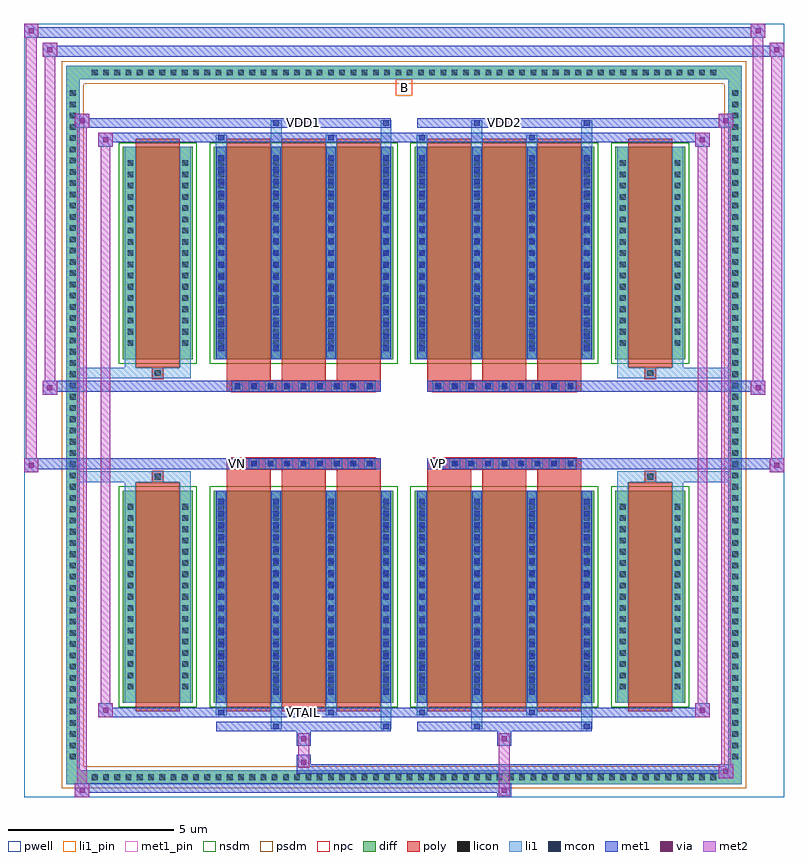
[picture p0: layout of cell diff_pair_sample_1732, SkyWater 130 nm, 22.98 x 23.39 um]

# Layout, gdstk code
import gdstk
lib = gdstk.Library(unit=1e-6, precision=5e-09)
def R(c, l, rs):  # rectangles x0, y0, x1, y1
    for r in rs: c.add(gdstk.rectangle(r[:2], r[2:], *l))
def A(c, l, x, y, w, h, nx, ny, dx, dy):  # array of equal rectangles
    R(c, l, [(x+i*dx, y+j*dy, x+i*dx+w, y+j*dy+h) for i in range(nx) for j in range(ny)])
def P(c, l, *ps):  # polygons
    for p in ps: c.add(gdstk.Polygon(p, *l))
pwell = (64, 44)
diff = (65, 20)
poly = (66, 20)
licon = (66, 44)
li1_pin = (67, 16)
li1 = (67, 20)
mcon = (67, 44)
met1_pin = (68, 16)
met1 = (68, 20)
via = (68, 44)
met2 = (69, 20)
nsdm = (93, 44)
psdm = (94, 20)
npc = (95, 20)

diff_pair_sample_1732 = lib.new_cell('diff_pair_sample_1732')
R(diff_pair_sample_1732, pwell, [(-11.49,-11.26,11.49,12.13), (-8.81,-9.45,-0.01,-0.805), (0.01,-9.45,8.81,-0.805), (-8.81,0.805,-0.01,9.45), (0.01,0.805,8.81,9.45)])
A(diff_pair_sample_1732, diff, -9.555, -10.86, 0.41, 0.41, 56, 2, 0.34, 21.31)
A(diff_pair_sample_1732, diff, -10.22, -10.235, 0.41, 0.41, 1, 60, 0, 0.34)
A(diff_pair_sample_1732, diff, 9.81, -10.235, 0.41, 0.41, 1, 60, 0, 0.34)
R(diff_pair_sample_1732, diff, [(-9.555,-10.86,9.555,-10.45), (-10.22,-10.235,-9.81,10.235), (9.81,-10.235,10.22,10.235), (-8.5,-8.405,-6.39,-1.985), (-5.75,-8.405,-0.32,-1.985), (0.32,-8.405,5.75,-1.985), (6.39,-8.405,8.5,-1.985), (-8.5,1.985,-6.39,8.405), (-5.75,1.985,-0.32,8.405), (0.32,1.985,5.75,8.405), (6.39,1.985,8.5,8.405), (-9.555,10.45,9.555,10.86)])
P(diff_pair_sample_1732, diff, [(10.22,10.86),(-10.22,10.86),(-10.22,-10.45),(-9.81,-10.45),(-9.81,10.45),(9.81,10.45),(9.81,-10.45),(-9.81,-10.45),(-10.22,-10.45),(-10.22,-10.86),(10.22,-10.86)])
A(diff_pair_sample_1732, poly, -5.36, -8.655, 1.33, 6.92, 3, 2, 1.66, 10.39)
A(diff_pair_sample_1732, poly, 0.71, -8.655, 1.33, 6.92, 3, 2, 1.66, 10.39)
A(diff_pair_sample_1732, poly, -5.36, -1.735, 1.33, 0.4, 3, 2, 1.66, 3.07)
A(diff_pair_sample_1732, poly, 0.71, -1.735, 1.33, 0.4, 3, 2, 1.66, 3.07)
A(diff_pair_sample_1732, poly, -5.2, -1.335, 0.33, 0.33, 9, 2, 0.5, 2.34)
A(diff_pair_sample_1732, poly, 0.87, -1.335, 0.33, 0.33, 9, 2, 0.5, 2.34)
R(diff_pair_sample_1732, poly, [(-8.11,-8.655,-6.78,-1.735), (6.78,-8.655,8.11,-1.735), (-7.61,-1.735,-7.28,-1.405), (-7.61,-1.735,-7.28,-1.405), (7.28,-1.735,7.61,-1.405), (7.28,-1.735,7.61,-1.405), (-5.36,-1.335,-0.71,-1.005), (0.71,-1.335,5.36,-1.005), (-5.36,1.005,-0.71,1.335), (0.71,1.005,5.36,1.335), (-7.61,1.405,-7.28,1.735), (-7.61,1.405,-7.28,1.735), (7.28,1.405,7.61,1.735), (7.28,1.405,7.61,1.735), (-8.11,1.735,-6.78,8.655), (6.78,1.735,8.11,8.655)])
A(diff_pair_sample_1732, licon, -9.435, -10.74, 0.17, 0.17, 56, 2, 0.34, 21.31)
A(diff_pair_sample_1732, licon, -10.1, -10.115, 0.17, 0.17, 1, 60, 0, 0.34)
A(diff_pair_sample_1732, licon, 9.93, -10.115, 0.17, 0.17, 1, 60, 0, 0.34)
A(diff_pair_sample_1732, licon, -8.36, -8, 0.17, 0.17, 1, 17, 0, 0.34)
A(diff_pair_sample_1732, licon, -6.7, -8, 0.17, 0.17, 1, 17, 0, 0.34)
A(diff_pair_sample_1732, licon, -5.61, -8, 0.17, 0.17, 4, 17, 1.66, 0.34)
A(diff_pair_sample_1732, licon, 0.46, -8, 0.17, 0.17, 4, 17, 1.66, 0.34)
A(diff_pair_sample_1732, licon, 6.53, -8, 0.17, 0.17, 1, 17, 0, 0.34)
A(diff_pair_sample_1732, licon, 8.19, -8, 0.17, 0.17, 1, 17, 0, 0.34)
A(diff_pair_sample_1732, licon, -5.12, -1.255, 0.17, 0.17, 9, 2, 0.5, 2.34)
A(diff_pair_sample_1732, licon, 0.95, -1.255, 0.17, 0.17, 9, 2, 0.5, 2.34)
A(diff_pair_sample_1732, licon, -8.36, 2.39, 0.17, 0.17, 1, 17, 0, 0.34)
A(diff_pair_sample_1732, licon, -6.7, 2.39, 0.17, 0.17, 1, 17, 0, 0.34)
A(diff_pair_sample_1732, licon, -5.61, 2.39, 0.17, 0.17, 4, 17, 1.66, 0.34)
A(diff_pair_sample_1732, licon, 0.46, 2.39, 0.17, 0.17, 4, 17, 1.66, 0.34)
A(diff_pair_sample_1732, licon, 6.53, 2.39, 0.17, 0.17, 1, 17, 0, 0.34)
A(diff_pair_sample_1732, licon, 8.19, 2.39, 0.17, 0.17, 1, 17, 0, 0.34)
R(diff_pair_sample_1732, licon, [(-7.53,-1.655,-7.36,-1.485), (7.36,-1.655,7.53,-1.485), (-7.53,1.485,-7.36,1.655), (7.36,1.485,7.53,1.655)])
R(diff_pair_sample_1732, li1_pin, [(-0.25,9.95,0.25,10.45)])
A(diff_pair_sample_1732, li1, -9.515, -10.82, 0.33, 0.33, 56, 2, 0.34, 21.31)
A(diff_pair_sample_1732, li1, -10.18, -10.195, 0.33, 0.33, 1, 60, 0, 0.34)
A(diff_pair_sample_1732, li1, 9.85, -10.195, 0.33, 0.33, 1, 60, 0, 0.34)
A(diff_pair_sample_1732, li1, -5.69, -8.405, 0.33, 6.42, 4, 2, 1.66, 10.39)
A(diff_pair_sample_1732, li1, 0.38, -8.405, 0.33, 6.42, 4, 2, 1.66, 10.39)
A(diff_pair_sample_1732, li1, -5.61, -8.16, 0.17, 0.17, 4, 17, 1.66, 0.36)
A(diff_pair_sample_1732, li1, -5.61, -8.16, 0.17, 5.93, 4, 2, 1.66, 10.39)
A(diff_pair_sample_1732, li1, 0.46, -8.16, 0.17, 0.17, 4, 17, 1.66, 0.36)
A(diff_pair_sample_1732, li1, 0.46, -8.16, 0.17, 5.93, 4, 2, 1.66, 10.39)
A(diff_pair_sample_1732, li1, -8.44, -8.08, 0.33, 0.33, 1, 17, 0, 0.34)
A(diff_pair_sample_1732, li1, -6.78, -8.08, 0.33, 0.33, 1, 17, 0, 0.34)
A(diff_pair_sample_1732, li1, -5.69, -8.08, 0.33, 0.33, 4, 17, 1.66, 0.34)
A(diff_pair_sample_1732, li1, 0.38, -8.08, 0.33, 0.33, 4, 17, 1.66, 0.34)
A(diff_pair_sample_1732, li1, 6.45, -8.08, 0.33, 0.33, 1, 17, 0, 0.34)
A(diff_pair_sample_1732, li1, 8.11, -8.08, 0.33, 0.33, 1, 17, 0, 0.34)
A(diff_pair_sample_1732, li1, -5.2, -1.335, 0.33, 0.33, 9, 2, 0.5, 2.34)
A(diff_pair_sample_1732, li1, 0.87, -1.335, 0.33, 0.33, 9, 2, 0.5, 2.34)
A(diff_pair_sample_1732, li1, -5.61, 2.23, 0.17, 0.17, 4, 17, 1.66, 0.36)
A(diff_pair_sample_1732, li1, 0.46, 2.23, 0.17, 0.17, 4, 17, 1.66, 0.36)
A(diff_pair_sample_1732, li1, -8.44, 2.31, 0.33, 0.33, 1, 17, 0, 0.34)
A(diff_pair_sample_1732, li1, -6.78, 2.31, 0.33, 0.33, 1, 17, 0, 0.34)
A(diff_pair_sample_1732, li1, -5.69, 2.31, 0.33, 0.33, 4, 17, 1.66, 0.34)
A(diff_pair_sample_1732, li1, 0.38, 2.31, 0.33, 0.33, 4, 17, 1.66, 0.34)
A(diff_pair_sample_1732, li1, 6.45, 2.31, 0.33, 0.33, 1, 17, 0, 0.34)
A(diff_pair_sample_1732, li1, 8.11, 2.31, 0.33, 0.33, 1, 17, 0, 0.34)
R(diff_pair_sample_1732, li1, [(-10.22,-10.86,-9.81,-10.45), (-10.22,-10.86,-9.81,-10.45), (-9.81,-10.86,9.81,-10.45), (9.81,-10.86,10.22,-10.45), (9.81,-10.86,10.22,-10.45), (-10.22,-10.45,-9.81,10.45), (9.81,-10.45,10.22,10.45), (-4.03,-9.21,-3.7,-8.405), (-3.95,-9.21,-3.78,-9.04), (-0.71,-9.21,-0.38,-8.405), (-0.63,-9.21,-0.46,-9.04), (2.04,-9.21,2.37,-8.405), (2.12,-9.21,2.29,-9.04), (5.36,-9.21,5.69,-8.405), (5.44,-9.21,5.61,-9.04), (-5.69,-8.78,-5.36,-8.405), (-5.61,-8.78,-5.44,-8.61), (-2.37,-8.78,-2.04,-8.405), (-2.29,-8.78,-2.12,-8.61), (0.38,-8.78,0.71,-8.405), (0.46,-8.78,0.63,-8.61), (3.7,-8.78,4.03,-8.405), (3.78,-8.78,3.95,-8.61), (-8.44,-8.405,-8.11,-1.985), (-6.78,-8.405,-6.45,-1.985), (6.45,-8.405,6.78,-1.985), (8.11,-8.405,8.44,-1.985), (-8.44,-1.985,-8.11,-1.405), (-6.78,-1.985,-6.45,-1.405), (6.45,-1.985,6.78,-1.405), (8.11,-1.985,8.44,-1.405), (-10.22,-1.735,-7.61,-1.405), (-8.44,-1.735,-7.61,-1.405), (-7.61,-1.735,-7.28,-1.405), (-7.28,-1.735,-6.45,-1.405), (6.45,-1.735,7.28,-1.405), (7.28,-1.735,7.61,-1.405), (7.28,-1.735,10.22,-1.405), (7.61,-1.735,8.44,-1.405), (-10.22,1.405,-7.61,1.735), (-8.44,1.405,-7.61,1.735), (-8.44,1.405,-8.11,1.985), (-7.61,1.405,-7.28,1.735), (-7.28,1.405,-6.45,1.735), (-6.78,1.405,-6.45,1.985), (6.45,1.405,7.28,1.735), (6.45,1.405,6.78,1.985), (7.28,1.405,7.61,1.735), (7.28,1.405,10.22,1.735), (7.61,1.405,8.44,1.735), (8.11,1.405,8.44,1.985), (-8.44,1.985,-8.11,8.405), (-6.78,1.985,-6.45,8.405), (6.45,1.985,6.78,8.405), (8.11,1.985,8.44,8.405), (-5.69,8.405,-5.36,8.78), (-4.03,8.405,-3.7,9.21), (-2.37,8.405,-2.04,8.78), (-0.71,8.405,-0.38,9.21), (0.38,8.405,0.71,8.78), (2.04,8.405,2.37,9.21), (3.7,8.405,4.03,8.78), (5.36,8.405,5.69,9.21), (-5.61,8.61,-5.44,8.78), (-2.29,8.61,-2.12,8.78), (0.46,8.61,0.63,8.78), (3.78,8.61,3.95,8.78), (-3.95,9.04,-3.78,9.21), (-0.63,9.04,-0.46,9.21), (2.12,9.04,2.29,9.21), (5.44,9.04,5.61,9.21), (-10.22,10.45,-9.81,10.86), (-10.22,10.45,-9.81,10.86), (-9.81,10.45,9.81,10.86), (9.81,10.45,10.22,10.86), (9.81,10.45,10.22,10.86)])
A(diff_pair_sample_1732, mcon, -5.61, -8.16, 0.17, 0.17, 4, 17, 1.66, 0.36)
A(diff_pair_sample_1732, mcon, 0.46, -8.16, 0.17, 0.17, 4, 17, 1.66, 0.36)
A(diff_pair_sample_1732, mcon, -5.12, -1.255, 0.17, 0.17, 9, 2, 0.5, 2.34)
A(diff_pair_sample_1732, mcon, 0.95, -1.255, 0.17, 0.17, 9, 2, 0.5, 2.34)
A(diff_pair_sample_1732, mcon, -5.61, 2.23, 0.17, 0.17, 4, 17, 1.66, 0.36)
A(diff_pair_sample_1732, mcon, 0.46, 2.23, 0.17, 0.17, 4, 17, 1.66, 0.36)
R(diff_pair_sample_1732, mcon, [(-3.95,-9.21,-3.78,-9.04), (-0.63,-9.21,-0.46,-9.04), (2.12,-9.21,2.29,-9.04), (5.44,-9.21,5.61,-9.04), (-5.61,-8.78,-5.44,-8.61), (-2.29,-8.78,-2.12,-8.61), (0.46,-8.78,0.63,-8.61), (3.78,-8.78,3.95,-8.61), (-5.61,8.61,-5.44,8.78), (-2.29,8.61,-2.12,8.78), (0.46,8.61,0.63,8.78), (3.78,8.61,3.95,8.78), (-3.95,9.04,-3.78,9.21), (-0.63,9.04,-0.46,9.21), (2.12,9.04,2.29,9.21), (5.44,9.04,5.61,9.21)])
R(diff_pair_sample_1732, met1_pin, [(-3.17,-8.82,-2.9,-8.55), (-5.17,-1.295,-4.9,-1.025), (0.9,-1.295,1.17,-1.025), (-3.17,9,-2.9,9.27), (2.9,9,3.17,9.27)])
A(diff_pair_sample_1732, met1, -5.67, -8.405, 0.29, 6.42, 4, 2, 1.66, 10.39)
A(diff_pair_sample_1732, met1, 0.4, -8.405, 0.29, 6.42, 4, 2, 1.66, 10.39)
A(diff_pair_sample_1732, met1, -5.67, -8.22, 0.29, 0.29, 4, 17, 1.66, 0.36)
A(diff_pair_sample_1732, met1, 0.4, -8.22, 0.29, 0.29, 4, 17, 1.66, 0.36)
A(diff_pair_sample_1732, met1, -5.18, -1.315, 0.29, 0.29, 9, 2, 0.5, 2.34)
A(diff_pair_sample_1732, met1, 0.89, -1.315, 0.29, 0.29, 9, 2, 0.5, 2.34)
A(diff_pair_sample_1732, met1, -5.67, 2.17, 0.29, 0.29, 4, 17, 1.66, 0.36)
A(diff_pair_sample_1732, met1, 0.4, 2.17, 0.29, 0.29, 4, 17, 1.66, 0.36)
R(diff_pair_sample_1732, met1, [(-9.95,-11.26,-9.52,-10.83), (2.82,-11.26,3.25,-10.83), (-9.95,-11.12,3.25,-10.83), (9.52,-10.69,9.95,-10.26), (-3.25,-10.55,9.95,-10.26), (-3.25,-10.41,-2.82,-9.98), (-3.25,-9.7,-2.82,-9.27), (2.82,-9.7,3.25,-9.27), (-5.67,-9.27,-0.4,-8.98), (-4.01,-9.27,-3.72,-8.98), (-0.69,-9.27,-0.4,-8.98), (0.4,-9.27,5.67,-8.98), (2.06,-9.27,2.35,-8.98), (5.38,-9.27,5.67,-8.98), (-9.24,-8.84,-8.81,-8.41), (-9.24,-8.84,-5.67,-8.55), (-5.67,-8.84,-5.38,-8.55), (-5.67,-8.84,-0.4,-8.55), (-2.35,-8.84,-2.06,-8.55), (-0.4,-8.84,0.4,-8.55), (0.4,-8.84,0.69,-8.55), (0.4,-8.84,5.67,-8.55), (3.72,-8.84,4.01,-8.55), (5.67,-8.84,9.24,-8.55), (8.81,-8.84,9.24,-8.41), (-11.49,-1.435,-11.06,-1.005), (11.06,-1.435,11.49,-1.005), (-11.49,-1.335,-0.71,-1.005), (-5.36,-1.335,-0.71,-1.005), (0.71,-1.335,5.36,-1.005), (0.71,-1.335,11.49,-1.005), (-10.92,0.905,-10.49,1.335), (10.49,0.905,10.92,1.335), (-10.92,1.005,-5.36,1.335), (-5.36,1.005,-0.71,1.335), (0.71,1.005,5.36,1.335), (5.36,1.005,10.92,1.335), (-9.24,8.41,-8.81,8.84), (8.81,8.41,9.24,8.84), (-9.24,8.55,-5.67,8.84), (-5.67,8.55,-5.38,8.84), (-5.67,8.55,-0.4,8.84), (-2.35,8.55,-2.06,8.84), (-0.4,8.55,0.4,8.84), (0.4,8.55,0.69,8.84), (0.4,8.55,5.67,8.84), (3.72,8.55,4.01,8.84), (5.67,8.55,9.24,8.84), (-9.95,8.98,-9.52,9.41), (-9.95,8.98,-5.67,9.27), (-5.67,8.98,-0.4,9.27), (-4.01,8.98,-3.72,9.27), (-0.69,8.98,-0.4,9.27), (0.4,8.98,5.67,9.27), (2.06,8.98,2.35,9.27), (5.38,8.98,5.67,9.27), (5.67,8.98,9.95,9.27), (9.52,8.98,9.95,9.41), (-10.92,11.13,-10.49,11.56), (-10.92,11.13,-8.81,11.46), (-8.81,11.13,8.81,11.46), (8.81,11.13,11.49,11.46), (11.06,11.13,11.49,11.56), (-11.49,11.7,-11.06,12.13), (-11.49,11.7,-8.81,12.03), (-8.81,11.7,8.81,12.03), (8.81,11.7,10.92,12.03), (10.49,11.7,10.92,12.13)])
R(diff_pair_sample_1732, via, [(-9.81,-11.12,-9.66,-10.97), (2.96,-11.12,3.11,-10.97), (9.66,-10.55,9.81,-10.4), (-3.11,-10.27,-2.96,-10.12), (-3.11,-9.56,-2.96,-9.41), (2.96,-9.56,3.11,-9.41), (-9.1,-8.7,-8.95,-8.55), (8.95,-8.7,9.1,-8.55), (-11.35,-1.295,-11.2,-1.145), (11.2,-1.295,11.35,-1.145), (-10.78,1.045,-10.63,1.195), (10.63,1.045,10.78,1.195), (-9.1,8.55,-8.95,8.7), (8.95,8.55,9.1,8.7), (-9.81,9.12,-9.66,9.27), (9.66,9.12,9.81,9.27), (-10.78,11.27,-10.63,11.42), (11.2,11.27,11.35,11.42), (-11.35,11.84,-11.2,11.99), (10.63,11.84,10.78,11.99)])
R(diff_pair_sample_1732, met2, [(-9.95,-11.26,-9.52,-10.83), (-9.88,-11.26,-9.59,9.41), (-9.59,-11.26,-9.52,-10.83), (-9.9,-11.21,-9.57,-10.88), (2.87,-11.21,3.2,-10.88), (2.87,-10.88,3.2,-9.65), (9.52,-10.69,9.95,-10.26), (9.59,-10.69,9.88,9.41), (9.88,-10.69,9.95,-10.26), (9.57,-10.64,9.9,-10.31), (-3.2,-10.36,-2.87,-10.03), (-3.2,-10.03,-2.87,-9.65), (-3.2,-9.65,-2.87,-9.32), (2.87,-9.65,3.2,-9.32), (-9.24,-8.84,-8.81,-8.41), (-9.17,-8.84,-8.88,8.84), (-8.88,-8.84,-8.81,-8.41), (8.81,-8.84,9.24,-8.41), (8.88,-8.84,9.17,8.84), (9.17,-8.84,9.24,-8.41), (-9.19,-8.79,-8.86,-8.46), (8.86,-8.79,9.19,-8.46), (-11.49,-1.435,-11.06,-1.005), (-11.44,-1.435,-11.11,12.13), (-11.11,-1.435,-11.06,-1.005), (11.06,-1.435,11.49,-1.005), (11.11,-1.435,11.44,11.56), (11.44,-1.435,11.49,-1.005), (-11.44,-1.385,-11.11,-1.055), (11.11,-1.385,11.44,-1.055), (-10.92,0.905,-10.49,1.335), (-10.87,0.905,-10.54,11.56), (-10.54,0.905,-10.49,1.335), (10.49,0.905,10.92,1.335), (10.54,0.905,10.87,12.13), (10.87,0.905,10.92,1.335), (-10.87,0.955,-10.54,1.285), (10.54,0.955,10.87,1.285), (-9.24,8.41,-8.81,8.84), (-8.88,8.41,-8.81,8.84), (8.81,8.41,9.24,8.84), (9.17,8.41,9.24,8.84), (-9.19,8.46,-8.86,8.79), (8.86,8.46,9.19,8.79), (-9.95,8.98,-9.52,9.41), (-9.59,8.98,-9.52,9.41), (9.52,8.98,9.95,9.41), (9.88,8.98,9.95,9.41), (-9.9,9.03,-9.57,9.36), (9.57,9.03,9.9,9.36), (-10.92,11.13,-10.49,11.56), (-10.54,11.13,-10.49,11.56), (11.06,11.13,11.49,11.56), (11.44,11.13,11.49,11.56), (-10.87,11.18,-10.54,11.51), (11.11,11.18,11.44,11.51), (-11.49,11.7,-11.06,12.13), (-11.11,11.7,-11.06,12.13), (10.49,11.7,10.92,12.13), (10.87,11.7,10.92,12.13), (-11.44,11.75,-11.11,12.08), (10.54,11.75,10.87,12.08)])
R(diff_pair_sample_1732, nsdm, [(-8.63,-8.535,-6.26,-1.855), (-5.88,-8.535,-0.19,-1.855), (0.19,-8.535,5.88,-1.855), (6.26,-8.535,8.63,-1.855), (-8.63,1.855,-6.26,8.535), (-5.88,1.855,-0.19,8.535), (0.19,1.855,5.88,8.535), (6.26,1.855,8.63,8.535)])
P(diff_pair_sample_1732, psdm, [(10.35,10.99),(-10.35,10.99),(-10.35,-10.32),(-9.68,-10.32),(-9.68,10.32),(9.68,10.32),(9.68,-10.32),(-9.68,-10.32),(-10.35,-10.32),(-10.35,-10.99),(10.35,-10.99)])
A(diff_pair_sample_1732, npc, -5.22, -1.355, 0.37, 0.37, 9, 2, 0.5, 2.34)
A(diff_pair_sample_1732, npc, 0.85, -1.355, 0.37, 0.37, 9, 2, 0.5, 2.34)
R(diff_pair_sample_1732, npc, [(-7.63,-1.755,-7.26,-1.385), (7.26,-1.755,7.63,-1.385), (-5.22,-1.355,-4.35,-0.985), (-5.22,-1.355,-4.35,-0.985), (-4.72,-1.355,-3.85,-0.985), (-4.72,-1.355,-3.85,-0.985), (-4.22,-1.355,-3.35,-0.985), (-4.22,-1.355,-3.35,-0.985), (-3.72,-1.355,-2.85,-0.985), (-3.72,-1.355,-2.85,-0.985), (-3.22,-1.355,-2.35,-0.985), (-3.22,-1.355,-2.35,-0.985), (-2.72,-1.355,-1.85,-0.985), (-2.72,-1.355,-1.85,-0.985), (-2.22,-1.355,-1.35,-0.985), (-2.22,-1.355,-1.35,-0.985), (-1.72,-1.355,-0.85,-0.985), (-1.72,-1.355,-0.85,-0.985), (0.85,-1.355,1.72,-0.985), (0.85,-1.355,1.72,-0.985), (1.35,-1.355,2.22,-0.985), (1.35,-1.355,2.22,-0.985), (1.85,-1.355,2.72,-0.985), (1.85,-1.355,2.72,-0.985), (2.35,-1.355,3.22,-0.985), (2.35,-1.355,3.22,-0.985), (2.85,-1.355,3.72,-0.985), (2.85,-1.355,3.72,-0.985), (3.35,-1.355,4.22,-0.985), (3.35,-1.355,4.22,-0.985), (3.85,-1.355,4.72,-0.985), (3.85,-1.355,4.72,-0.985), (4.35,-1.355,5.22,-0.985), (4.35,-1.355,5.22,-0.985), (-5.22,0.985,-4.35,1.355), (-5.22,0.985,-4.35,1.355), (-4.72,0.985,-3.85,1.355), (-4.72,0.985,-3.85,1.355), (-4.22,0.985,-3.35,1.355), (-4.22,0.985,-3.35,1.355), (-3.72,0.985,-2.85,1.355), (-3.72,0.985,-2.85,1.355), (-3.22,0.985,-2.35,1.355), (-3.22,0.985,-2.35,1.355), (-2.72,0.985,-1.85,1.355), (-2.72,0.985,-1.85,1.355), (-2.22,0.985,-1.35,1.355), (-2.22,0.985,-1.35,1.355), (-1.72,0.985,-0.85,1.355), (-1.72,0.985,-0.85,1.355), (0.85,0.985,1.72,1.355), (0.85,0.985,1.72,1.355), (1.35,0.985,2.22,1.355), (1.35,0.985,2.22,1.355), (1.85,0.985,2.72,1.355), (1.85,0.985,2.72,1.355), (2.35,0.985,3.22,1.355), (2.35,0.985,3.22,1.355), (2.85,0.985,3.72,1.355), (2.85,0.985,3.72,1.355), (3.35,0.985,4.22,1.355), (3.35,0.985,4.22,1.355), (3.85,0.985,4.72,1.355), (3.85,0.985,4.72,1.355), (4.35,0.985,5.22,1.355), (4.35,0.985,5.22,1.355), (-7.63,1.385,-7.26,1.755), (7.26,1.385,7.63,1.755)])
diff_pair_sample_1732.add(gdstk.Label('VTAIL', (-3.035,-8.685), layer=68, texttype=5))
diff_pair_sample_1732.add(gdstk.Label('VN', (-5.035,-1.16), layer=68, texttype=5))
diff_pair_sample_1732.add(gdstk.Label('VP', (1.035,-1.16), layer=68, texttype=5))
diff_pair_sample_1732.add(gdstk.Label('B', (0,10.2), layer=67, texttype=5))
diff_pair_sample_1732.add(gdstk.Label('VDD2', (3.035,9.135), layer=68, texttype=5))
diff_pair_sample_1732.add(gdstk.Label('VDD1', (-3.035,9.135), layer=68, texttype=5))

lib.write_gds('diff_pair_sample_1732.gds')
